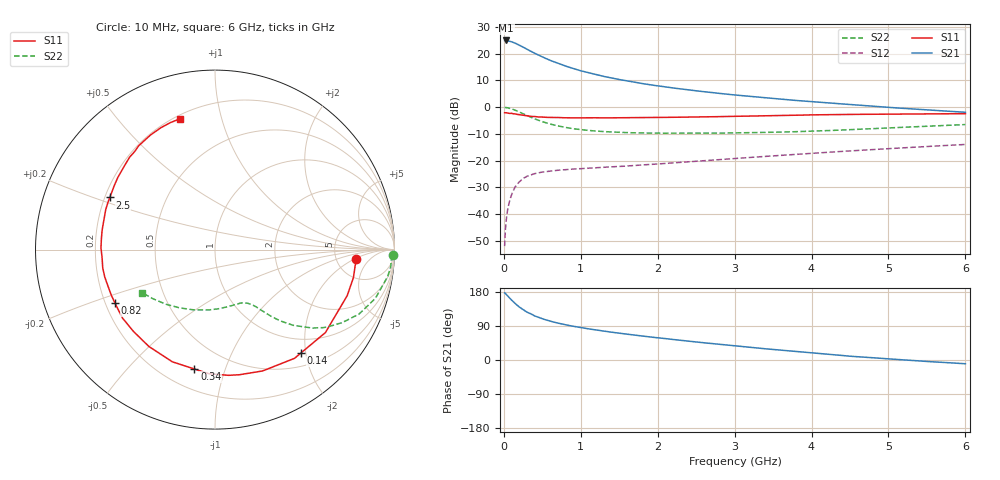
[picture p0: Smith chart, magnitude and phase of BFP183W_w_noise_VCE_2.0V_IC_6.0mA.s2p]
! Infineon Technologies  Discrete & RF Semiconductors
! BFP183W
! VCE = 2.0 V,  IC =  6.0 mA
! Common Emitter S-Parameters:  Jan 2016
# GHz  S  MA  R  50
!  f  S11  S21  S12  S22
! GHz  MAG  ANG  MAG  ANG  MAG  ANG  MAG  ANG
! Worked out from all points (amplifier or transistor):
!   210 points, 10 MHz to 6 GHz, reference 50 ohm
!   highest |S21| = 25.0 dB at 30 MHz (marker M1)
!   |S21| within 3 dB of that: start of sweep to 282.2 MHz
!   unconditionally stable (mu >= 1): 1.623 GHz to 5.682 GHz
!   at 185 MHz: K = 0.16, MSG = 26.0 dB, |S12| = -28.5 dB
!   at 1.52 GHz: K = 0.96, MSG = 16.2 dB, |S12| = -22.2 dB
!   at 6 GHz: K = 0.98, MSG = 6.0 dB, |S12| = -14.0 dB
!   lowest NFmin = 1.20 dB at 450 MHz
!   S11 on the Smith chart (normalised r, x): 10 MHz: 7.84, -2.16; 140 MHz: 0.72, -1.90; 340 MHz: 0.32, -0.79; 820 MHz: 0.24, -0.24; 2.5 GHz: 0.22, +0.22; 6 GHz: 0.22, +0.75
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0.01  0.7882 -3.8  17.68 177.0  0.0025 87.3  0.99 -1.8
0.03  0.7869 -11.4  17.75 173.4  0.0074 83.7  0.9843 -5.3
0.05  0.78 -19.2  17.55 168.8  0.0122 79.9  0.9741 -8.8
0.1  0.7695 -36.9  16.79 158.3  0.0229 71.2  0.9339 -16.9
0.14  0.7491 -50.4  15.94 150.5  0.0306 64.6  0.8885 -22.7
0.15  0.7506 -53.8  15.77 148.4  0.0326 63.4  0.8786 -24.2
0.2  0.7263 -68.6  14.53 139.9  0.0398 57.1  0.8153 -30.0
0.24  0.7103 -79.0  13.57 134.3  0.0448 52.7  0.7666 -34.0
0.3  0.6926 -92.7  12.16 126.4  0.0508 47.2  0.6977 -38.8
0.34  0.675 -99.8  11.35 122.8  0.0532 44.5  0.6597 -40.8
0.4  0.6688 -110.8  10.23 116.4  0.057 40.9  0.6044 -44.2
0.5  0.6534 -124.3  8.715 108.6  0.061 37.1  0.5353 -47.7
0.6  0.6436 -134.9  7.538 102.4  0.0637 34.2  0.4837 -50.0
0.82  0.6322 -151.8  5.773 92.2  0.0679 31.7  0.4134 -53.3
1.02  0.6307 -162.5  4.722 84.9  0.0708 30.9  0.3774 -55.5
1.44  0.6331 -179.0  3.427 72.4  0.0769 32.1  0.3414 -60.6
2.02  0.6417 164.4  2.486 58.2  0.0868 35.5  0.3262 -69.0
2.5  0.654 153.6  2.025 47.6  0.0967 37.5  0.3257 -77.5
3.1  0.6775 141.5  1.643 35.5  0.1117 38.9  0.3315 -89.4
4.1  0.7199 125.0  1.241 17.2  0.1396 38.4  0.3598 -112.1
5.1  0.7441 113.0  0.97 1.6  0.1705 35.4  0.4147 -134.0
6  0.7546 104.8  0.803 -9.9  0.2005 31.8  0.4727 -149.6
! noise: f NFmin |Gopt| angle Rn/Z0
0.45  1.2  0.21  41  0.24
0.9  1.25  0.24  101  0.21
1.8  2  0.32  175  0.14
